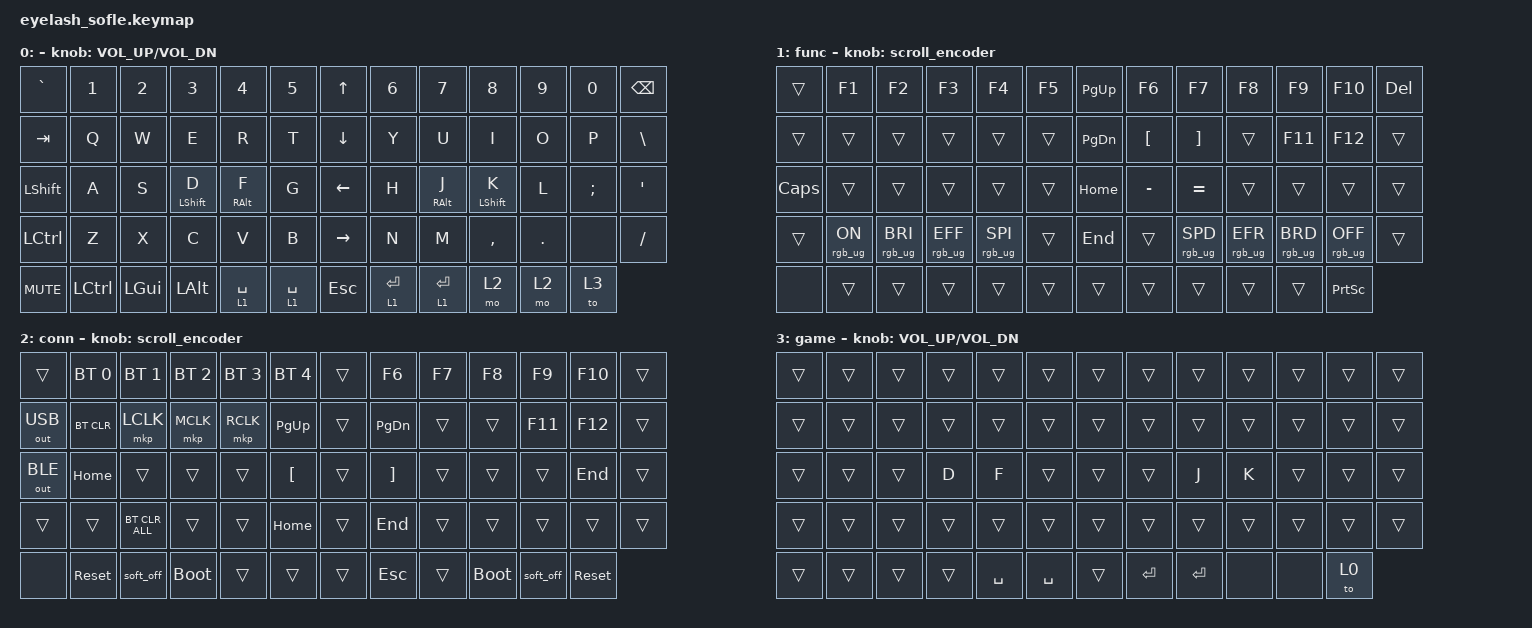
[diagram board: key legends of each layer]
#define ZMK_POINTING_DEFAULT_MOVE_VAL 1200  // 600
#define ZMK_POINTING_DEFAULT_SCRL_VAL 25   // 10

#include <input/processors.dtsi>
#include <zephyr/dt-bindings/input/input-event-codes.h>
#include <behaviors.dtsi>
#include <dt-bindings/zmk/bt.h>
#include <dt-bindings/zmk/keys.h>
#include <dt-bindings/zmk/outputs.h>
#include <dt-bindings/zmk/pointing.h>
#include <dt-bindings/zmk/rgb.h>

&mmv_input_listener { input-processors = <&zip_xy_scaler 2 1>; };

&msc_input_listener { input-processors = <&zip_scroll_scaler 2 1>; };

&msc {
    acceleration-exponent = <1>;      // 0
    time-to-max-speed-ms = <100>;     // 300
    delay-ms = <0>;                   // 0
};

&mmv {
    time-to-max-speed-ms = <500>;
    acceleration-exponent = <1>;
    trigger-period-ms = <16>;
};

&soft_off { hold-time-ms = <2000>; };

/ {
    scroll_encoder: scroll_encoder {
        compatible = "zmk,behavior-sensor-rotate";
        #sensor-binding-cells = <0>;
        bindings = <&msc SCRL_DOWN>, <&msc SCRL_UP>;

        tap-ms = <100>;
    };

    behaviors {
        mt {
            tapping-term-ms = <280>;        // default: 200
            quick-tap-ms = <175>;           // default: -1 (disabled)
            require-prior-idle-ms = <150>;  // default: -1 (disabled)
            flavor = "balanced";            // default: "hold-preferred"
        };
    };

    combos {
        compatible = "zmk,combos";

        softoff {
            bindings = <&soft_off>;
            key-positions = <14 28 40>;
        };
    };

    macros {
        SHIFT_MCLK: SHIFT_MCLK {
            compatible = "zmk,behavior-macro";
            #binding-cells = <0>;
            bindings =
                <&macro_press>,
                <&kp LEFT_SHIFT>,
                <&macro_press>,
                <&mkp MB3>,
                <&macro_pause_for_release>,
                <&macro_release>,
                <&kp LEFT_SHIFT &mkp MB3>;

            label = "SHIFT_MCLK";
        };
    };

    keymap {
        compatible = "zmk,keymap";

        layer_0 {
            bindings = <
&kp GRAVE       &kp N1          &kp N2              &kp N3              &kp N4              &kp N5                  &kp UP_ARROW        &kp N6          &kp N7               &kp N8              &kp N9              &kp N0          &kp BACKSPACE
&kp TAB         &kp Q           &kp W               &kp E               &kp R               &kp T                   &kp DOWN_ARROW      &kp Y           &kp U                &kp I               &kp O               &kp P           &kp BSLH
&kp LSHFT       &kp A           &kp S               &mt LSHFT D         &mt RALT F          &kp G                   &kp LEFT_ARROW      &kp H           &mt RALT J           &mt LSHFT K         &kp L               &kp SEMI        &kp APOS
&kp LCTRL       &kp Z           &kp X               &kp C               &kp V               &kp B                   &kp RIGHT_ARROW     &kp N           &kp M                &kp COMMA           &kp DOT             &none           &kp FSLH
&kp C_MUTE      &kp LCTRL       &kp LEFT_GUI        &kp LEFT_ALT        &lt 1 SPACE         &lt 1 SPACE             &kp ESC             &lt 1 ENTER     &lt 1 ENTER          &mo 2               &mo 2               &to 3
            >;

            sensor-bindings = <&inc_dec_kp C_VOLUME_UP C_VOL_DN>;
            display-name = "";
        };

        layer_1 {
            bindings = <
&trans          &kp F1           &kp F2             &kp F3              &kp F4              &kp F5                  &kp PG_UP           &kp F6          &kp F7              &kp F8              &kp F9              &kp F10         &kp DELETE
&trans          &trans           &trans             &trans              &trans              &trans                  &kp PG_DN           &kp LBKT        &kp RBKT            &trans              &kp F11             &kp F12         &trans
&kp CAPS        &trans           &trans             &trans              &trans              &trans                  &kp HOME            &kp MINUS       &kp EQUAL           &trans              &trans              &trans          &trans
&trans          &rgb_ug RGB_ON   &rgb_ug RGB_BRI    &rgb_ug RGB_EFF     &rgb_ug RGB_SPI     &trans                  &kp END             &trans          &rgb_ug RGB_SPD     &rgb_ug RGB_EFR     &rgb_ug RGB_BRD     &rgb_ug RGB_OFF &trans
&none           &trans           &trans             &trans              &trans              &trans                  &trans              &trans          &trans              &trans              &trans              &kp PRINTSCREEN
            >;

            sensor-bindings = <&scroll_encoder>;
            display-name = "func";
        };

        layer_2 {
            bindings = <
&trans          &bt BT_SEL 0   &bt BT_SEL 1        &bt BT_SEL 2        &bt BT_SEL 3        &bt BT_SEL 4            &trans              &kp F6          &kp F7              &kp F8              &kp F9              &kp F10         &trans
&out OUT_USB    &bt BT_CLR     &mkp LCLK           &mkp MCLK           &mkp RCLK           &kp PG_UP               &trans              &kp PG_DN       &trans              &trans              &kp F11             &kp F12         &trans
&out OUT_BLE    &kp HOME       &trans              &trans              &trans              &kp LBKT                &trans              &kp RBKT        &trans              &trans              &trans              &kp END         &trans
&trans          &trans         &bt BT_CLR_ALL      &trans              &trans              &kp HOME                &trans              &kp END         &trans              &trans              &trans              &trans          &trans
&none           &sys_reset     &soft_off           &bootloader         &trans              &trans                  &trans              &kp ESC         &trans              &bootloader         &soft_off           &sys_reset
            >;

            display-name = "conn";
            sensor-bindings = <&scroll_encoder>;
        };

        layer_3 {
            bindings = <
&trans          &trans          &trans              &trans              &trans              &trans                  &trans              &trans          &trans               &trans              &trans              &trans          &trans
&trans          &trans          &trans              &trans              &trans              &trans                  &trans              &trans          &trans               &trans              &trans              &trans          &trans
&trans          &trans          &trans              &kp D               &kp F               &trans                  &trans              &trans          &kp J                &kp K               &trans              &trans          &trans
&trans          &trans          &trans              &trans              &trans              &trans                  &trans              &trans          &trans               &trans              &trans              &trans          &trans
&trans          &trans          &trans              &trans              &kp SPACE           &kp SPACE               &trans              &kp ENTER       &kp ENTER            &none               &none               &to 0
            >;

            display-name = "game";
            sensor-bindings = <&inc_dec_kp C_VOLUME_UP C_VOL_DN>;
        };

    };
};
